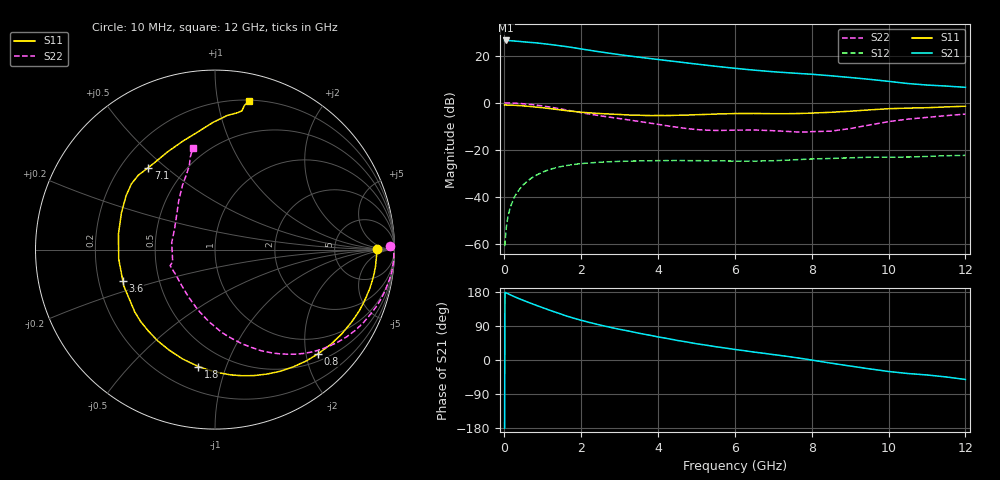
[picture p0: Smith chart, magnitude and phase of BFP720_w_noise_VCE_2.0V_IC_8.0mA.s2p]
! Infineon Technologies  Discrete & RF Semiconductors
! BFP720
! VCE =  2.0 V,  IC =  8.0 mA
! Common Emitter S-Parameters:  Aug 2012
# GHz  S  MA  R  50
!  f  S11  S21  S12  S22
! GHz  MAG  ANG  MAG  ANG  MAG  ANG  MAG  ANG
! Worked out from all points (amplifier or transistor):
!   105 points, 10 MHz to 12 GHz, reference 50 ohm
!   highest |S21| = 26.5 dB at 50 MHz (marker M1)
!   |S21| within 3 dB of that: start of sweep to 1.772 GHz
!   unconditionally stable (mu >= 1): start of sweep to 10.76 MHz; 5.949 GHz to 11.41 GHz
!   at 300 MHz: K = 0.07, MSG = 32.6 dB, |S12| = -39.0 dB
!   at 3.6 GHz: K = 0.62, MSG = 21.9 dB, |S12| = -24.7 dB
!   at 12 GHz: K = 0.84, MSG = 14.5 dB, |S12| = -22.3 dB
!   lowest NFmin = 0.48 dB at 450 MHz
!   S11 on the Smith chart (normalised r, x): 10 MHz: 19, +0; 800 MHz: 0.64, -2.25; 1.8 GHz: 0.35, -0.80; 3.6 GHz: 0.30, -0.15; 7.1 GHz: 0.31, +0.44; 12 GHz: 0.21, +1.24
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0.01  0.9024 0.1  20.93 -180.0  0.0009 17.2  0.9774 1.3
0.02  0.9019 -1.1  20.93 178.5  0.001 94.9  0.9959 -0.6
0.05  0.9 -2.9  21.18 177.1  0.0021 91.3  0.9967 -1.8
0.25  0.8887 -14.3  20.68 167.7  0.0094 81.5  0.9868 -9.6
0.45  0.8671 -25.4  19.98 159.2  0.0164 75.2  0.9629 -17.1
0.8  0.8169 -45.2  18.93 145.5  0.028 64.3  0.9028 -29.8
1.1  0.7694 -61.7  17.76 134.4  0.0363 55.4  0.8348 -40.0
1.3  0.7351 -72.7  16.96 127.2  0.0408 50.0  0.7859 -46.5
1.6  0.6852 -88.6  15.77 116.8  0.0462 42.6  0.7107 -55.1
1.8  0.6579 -98.1  14.87 110.6  0.0489 38.2  0.6628 -60.5
2.1  0.6231 -110.8  13.58 102.3  0.0519 32.6  0.6 -67.4
2.4  0.6001 -122.2  12.44 94.5  0.0542 27.8  0.5466 -73.9
2.8  0.5766 -135.8  11.14 85.3  0.0563 22.6  0.4881 -81.6
3.6  0.5421 -161.4  9.145 68.9  0.0585 14.5  0.3922 -96.6
4.1  0.5373 -177.4  8.163 59.3  0.0592 10.4  0.3396 -107.9
5  0.5604 158.4  6.677 42.9  0.0591 4.6  0.2711 -134.3
6.1  0.5925 140.7  5.328 26.5  0.0579 1.3  0.2632 -157.3
7.1  0.589 129.1  4.52 13.1  0.0593 1.4  0.2535 -162.5
8.5  0.6303 106.5  3.759 -8.3  0.0658 -2.8  0.2506 154.7
9.5  0.7082 91.0  3.163 -23.3  0.0698 -7.3  0.3377 126.8
10.5  0.7732 80.6  2.574 -35.6  0.0706 -11.3  0.4506 110.5
12  0.8476 76.9  2.135 -51.4  0.0765 -17.9  0.577 102.4
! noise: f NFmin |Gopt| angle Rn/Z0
0.45  0.48  0.35  2  0.16
1.8  0.54  0.32  22  0.14
2.4  0.59  0.26  45  0.25
5.5  0.73  0.14  40  0.14
10  0.95  0.39  -84  0.22
